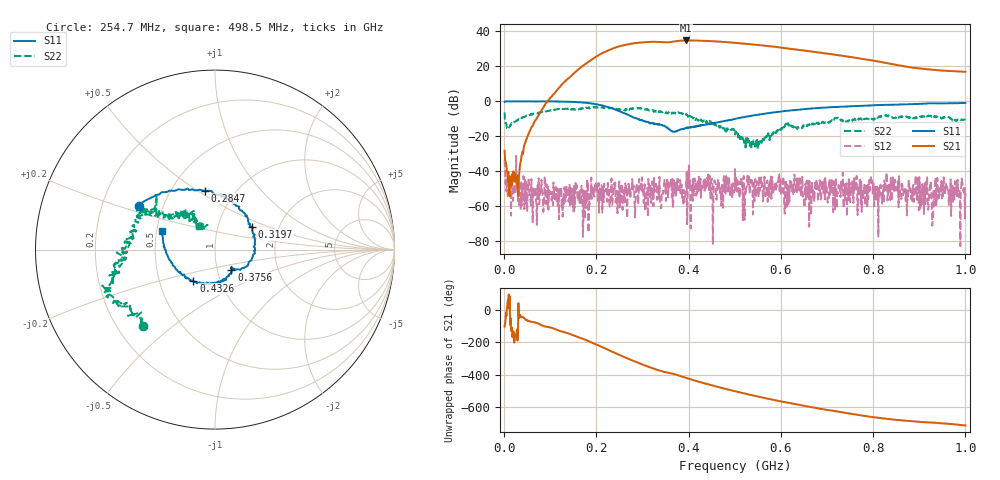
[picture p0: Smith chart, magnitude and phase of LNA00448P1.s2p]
! Created with skrf 1.9.0 (http://scikit-rf.org).
# Hz S RI R 50.0
!freq ReS11 ImS11 ReS21 ImS21 ReS12 ImS12 ReS22 ImS22
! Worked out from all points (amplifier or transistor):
!   1001 points, 1 MHz to 1 GHz, reference 50 ohm
!   highest |S21| = 34.9 dB at 394.6 MHz (marker M1)
!   |S21| within 3 dB of that: 255.2 MHz to 565.6 MHz (310.4 MHz wide, 75.6 % of centre)
!   unconditionally stable (mu >= 1): 3.476 MHz to 52.42 MHz; 224.9 MHz to 400.3 MHz; 401 MHz to end of sweep (the widest 3 of 33)
!   at 166.8 MHz: K = 3.17, MAG = 31.4 dB, |S12| = -59.1 dB
!   at 500.5 MHz: K = 1.08, MAG = 34.4 dB, |S12| = -38.7 dB
!   at 1 GHz: K = 5.09, MAG = 24.6 dB, |S12| = -52.4 dB
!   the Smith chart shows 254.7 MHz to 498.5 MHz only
!   S11 on the Smith chart (normalised r, x): 254.7 MHz: 0.36, +0.23; 284.7 MHz: 0.73, +0.54; 319.7 MHz: 1.46, +0.39; 375.6 MHz: 1.17, -0.26; 432.6 MHz: 0.74, -0.27; 498.5 MHz: 0.54, +0.12
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1000000  0.9696 -0.00095  -0.00928 -0.0375  -0.0211 -0.00208  0.3915 0.2883
1.08892e8  0.5319 -0.8404  -0.7954 -1.5  0.00166 -0.000214  0.4185 -0.3737
1.67833e8  -0.21 -0.9085  -9.796 -0.6216  0.00278 -0.0027  0.0531 -0.636
2.13787e8  -0.6787 -0.3468  -15.1 18.89  -0.00279 0.0022  -0.2415 -0.6522
2.32768e8  -0.6457 -0.0279  -7.228 30.68  -0.00579 0.00244  -0.2974 -0.5587
2.54746e8  -0.4248 0.2442  9.87 37.76  -0.00133 -0.00423  -0.3994 -0.4273
2.84716e8  -0.0567 0.3282  35.72 29.77  -0.00131 0.000662  -0.5992 -0.2613
3.04696e8  0.1353 0.2401  47.09 14.67  -0.000481 0.00425  -0.5692 -0.1433
3.19681e8  0.2067 0.1271  50.37 1.8  -0.00216 0.00275  -0.5644 -0.0853
3.34666e8  0.2238 -0.00349  49.1 -10.98  -0.00143 0.00324  -0.4999 -0.0165
3.75625e8  0.0911 -0.1109  39.42 -36.39  0.00515 0.00326  -0.4199 0.2245
3.94606e8  0.0585 -0.1656  27.7 -47.86  0.000248 0.00357  -0.3796 0.2133
4.32568e8  -0.1207 -0.1742  -1.767 -53.89  0.00559 0.00262  -0.2071 0.1795
4.65535e8  -0.2456 -0.0674  -23.4 -45.73  0.00462 0.00183  -0.0994 0.1599
4.98502e8  -0.293 0.1009  -36.77 -30.35  0.00119 -0.00216  -0.0871 0.1328
5.005e8  -0.2946 0.1188  -37.44 -29.46  0.0108 -0.00414  -0.075 0.0829
5.41459e8  -0.2335 0.3249  -41.39 -8.33  0.00314 0.00214  -0.0739 0.0103
5.88412e8  -0.0504 0.4882  -34.4 11  -0.000935 -0.00242  -0.1283 -0.0618
6.67333e8  0.3226 0.5384  -13 22.97  -0.000868 -0.00461  -0.2278 -0.0369
7.53247e8  0.6242 0.3748  3.496 18.04  -0.00118 -0.00349  -0.2718 0.045
8.34166e8  0.7824 0.152  8.24 8.919  -0.00209 -0.00259  -0.363 0.1232
1e9  0.8168 -0.3807  6.991 0.9643  -0.00231 0.000682  -0.046 0.2938
